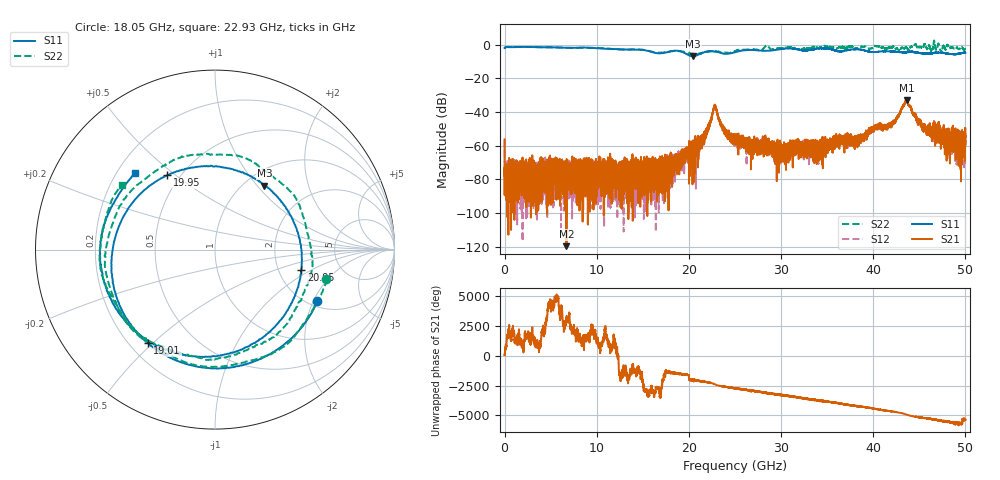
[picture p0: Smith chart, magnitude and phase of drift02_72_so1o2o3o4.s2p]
!Created with skrf (http://scikit-rf.org).
# Hz S RI R 50.0
!freq ReS11 ImS11 ReS21 ImS21 ReS12 ImS12 ReS22 ImS22
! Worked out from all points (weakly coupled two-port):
!   10001 points, 300 kHz to 50 GHz, reference 50 ohm
!   highest |S21| = -32.87 dB at 43.64 GHz (marker M1); lowest = -119.6 dB at 6.715 GHz (marker M2)
!   lowest |S11| = -6.9 dB at 20.45 GHz (marker M3), VSWR 2.64, Z = 61 + j54.7 ohm
!   |S11| at or under -10 dB: nowhere
!   |S22| runs from -5.7 to 2.5 dB; largest |S21 - S12| = 0.0035
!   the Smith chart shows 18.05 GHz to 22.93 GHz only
!   S11 on the Smith chart (normalised r, x): 18.05 GHz: 2.21, -2.14; 19.01 GHz: 0.27, -0.48; 19.95 GHz: 0.43, +0.47; 20.95 GHz: 2.67, -0.81; 22.93 GHz: 0.27, +0.38
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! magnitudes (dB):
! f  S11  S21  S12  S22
! 300 kHz  -2.1  -56.2  -56.5  -2.1
! 255.3 MHz  -1.4  -80.2  -78.4  -1.4
! 6.715 GHz  -1.9  -119.6  -75.4  -1.8
! 8.335 GHz  -1.7  -75.2  -85.2  -1.9
! 16.67 GHz  -5.2  -74.2  -75.2  -4.7
! 18.05 GHz  -3.9  -70.3  -77.1  -3.8
! 19.01 GHz  -3.9  -69.4  -67.4  -3.9
! 19.95 GHz  -6.2  -63.9  -64.1  -5.2
! 20.45 GHz  -6.9  -68.1  -58.6  -5.4
! 20.95 GHz  -6.1  -58.0  -60.6  -5.7
! 22.93 GHz  -4.2  -37.6  -37.7  -4.0
! 23.76 GHz  -5.3  -50.4  -49.9  -4.7
! 25 GHz  -4.5  -56.2  -53.1  -3.9
! 29.67 GHz  -2.9  -64.1  -66.9  -2.1
! 33.34 GHz  -3.0  -61.3  -62.6  -1.6
! 38.22 GHz  -2.8  -58.3  -55.9  -2.2
! 40.34 GHz  -4.4  -48.6  -48.0  -1.0
! 41.67 GHz  -4.0  -48.7  -48.1  -1.8
! 43.64 GHz  -4.6  -32.9  -33.4  -1.8
! 45.66 GHz  -5.4  -50.1  -49.9  -0.2
! 48.46 GHz  -5.6  -59.2  -56.1  -1.5
! 50 GHz  -4.8  -59.0  -52.5  -2.7
